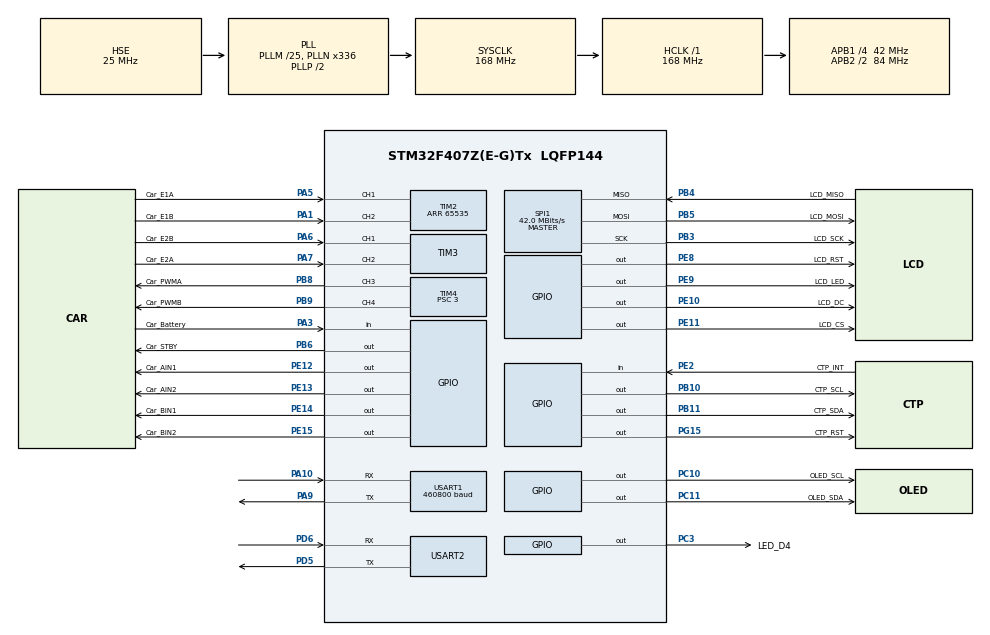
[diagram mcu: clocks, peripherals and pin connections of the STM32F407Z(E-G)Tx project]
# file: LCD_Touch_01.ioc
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Dma.Request0=USART1_TX
Dma.Request1=USART1_RX
Dma.Request2=SPI1_TX
Dma.Request3=SPI1_RX
Dma.Request4=USART2_TX
Dma.Request5=USART2_RX
Dma.SPI1_RX.3.Direction=DMA_PERIPH_TO_MEMORY
Dma.SPI1_RX.3.FIFOMode=DMA_FIFOMODE_DISABLE
Dma.SPI1_RX.3.Instance=DMA2_Stream0
Dma.SPI1_RX.3.MemDataAlignment=DMA_MDATAALIGN_BYTE
Dma.SPI1_RX.3.MemInc=DMA_MINC_ENABLE
Dma.SPI1_RX.3.Mode=DMA_NORMAL
Dma.SPI1_RX.3.PeriphDataAlignment=DMA_PDATAALIGN_BYTE
Dma.SPI1_RX.3.PeriphInc=DMA_PINC_DISABLE
Dma.SPI1_RX.3.Priority=DMA_PRIORITY_LOW
Dma.SPI1_TX.2.Direction=DMA_MEMORY_TO_PERIPH
Dma.SPI1_TX.2.FIFOMode=DMA_FIFOMODE_DISABLE
Dma.SPI1_TX.2.Instance=DMA2_Stream3
Dma.SPI1_TX.2.MemDataAlignment=DMA_MDATAALIGN_BYTE
Dma.SPI1_TX.2.MemInc=DMA_MINC_ENABLE
Dma.SPI1_TX.2.Mode=DMA_NORMAL
Dma.SPI1_TX.2.PeriphDataAlignment=DMA_PDATAALIGN_BYTE
Dma.SPI1_TX.2.PeriphInc=DMA_PINC_DISABLE
Dma.SPI1_TX.2.Priority=DMA_PRIORITY_LOW
Dma.USART1_RX.1.Direction=DMA_PERIPH_TO_MEMORY
Dma.USART1_RX.1.FIFOMode=DMA_FIFOMODE_DISABLE
Dma.USART1_RX.1.Instance=DMA2_Stream2
Dma.USART1_RX.1.MemDataAlignment=DMA_MDATAALIGN_BYTE
Dma.USART1_RX.1.MemInc=DMA_MINC_ENABLE
Dma.USART1_RX.1.Mode=DMA_NORMAL
Dma.USART1_RX.1.PeriphDataAlignment=DMA_PDATAALIGN_BYTE
Dma.USART1_RX.1.PeriphInc=DMA_PINC_DISABLE
Dma.USART1_RX.1.Priority=DMA_PRIORITY_LOW
Dma.USART1_TX.0.Direction=DMA_MEMORY_TO_PERIPH
Dma.USART1_TX.0.FIFOMode=DMA_FIFOMODE_DISABLE
Dma.USART1_TX.0.Instance=DMA2_Stream7
Dma.USART1_TX.0.MemDataAlignment=DMA_MDATAALIGN_BYTE
Dma.USART1_TX.0.MemInc=DMA_MINC_ENABLE
Dma.USART1_TX.0.Mode=DMA_NORMAL
Dma.USART1_TX.0.PeriphDataAlignment=DMA_PDATAALIGN_BYTE
Dma.USART1_TX.0.PeriphInc=DMA_PINC_DISABLE
Dma.USART1_TX.0.Priority=DMA_PRIORITY_LOW
Dma.USART2_RX.5.Direction=DMA_PERIPH_TO_MEMORY
Dma.USART2_RX.5.FIFOMode=DMA_FIFOMODE_DISABLE
Dma.USART2_RX.5.Instance=DMA1_Stream5
Dma.USART2_RX.5.MemDataAlignment=DMA_MDATAALIGN_BYTE
Dma.USART2_RX.5.MemInc=DMA_MINC_ENABLE
Dma.USART2_RX.5.Mode=DMA_NORMAL
Dma.USART2_RX.5.PeriphDataAlignment=DMA_PDATAALIGN_BYTE
Dma.USART2_RX.5.PeriphInc=DMA_PINC_DISABLE
Dma.USART2_RX.5.Priority=DMA_PRIORITY_LOW
Dma.USART2_TX.4.Direction=DMA_MEMORY_TO_PERIPH
Dma.USART2_TX.4.FIFOMode=DMA_FIFOMODE_DISABLE
Dma.USART2_TX.4.Instance=DMA1_Stream6
Dma.USART2_TX.4.MemDataAlignment=DMA_MDATAALIGN_BYTE
Dma.USART2_TX.4.MemInc=DMA_MINC_ENABLE
Dma.USART2_TX.4.Mode=DMA_NORMAL
Dma.USART2_TX.4.PeriphDataAlignment=DMA_PDATAALIGN_BYTE
Dma.USART2_TX.4.PeriphInc=DMA_PINC_DISABLE
Dma.USART2_TX.4.Priority=DMA_PRIORITY_LOW
Mcu.Family=STM32F4
Mcu.Name=STM32F407Z(E-G)Tx
Mcu.Package=LQFP144
NVIC.DMA1_Stream5_IRQn=true\:2\:0\:true\:false\:true\:true\:true\:true
NVIC.DMA1_Stream6_IRQn=true\:2\:0\:true\:false\:true\:true\:true\:true
NVIC.DMA2_Stream2_IRQn=true\:0\:0\:false\:false\:true\:false\:true\:true
NVIC.DMA2_Stream7_IRQn=true\:0\:0\:false\:false\:true\:false\:true\:true
NVIC.PriorityGroup=NVIC_PRIORITYGROUP_4
NVIC.TIM6_DAC_IRQn=true\:1\:0\:true\:false\:true\:true\:true\:true
NVIC.USART1_IRQn=true\:2\:0\:true\:false\:true\:true\:true\:true
NVIC.USART2_IRQn=true\:3\:0\:true\:false\:true\:true\:true\:true
PA1.GPIO_Label=Car_E1B
PA1.GPIO_PuPd=GPIO_PULLUP
PA1.GPIO_Speed=GPIO_SPEED_FREQ_VERY_HIGH
PA1.Signal=S_TIM2_CH2
PA10.Mode=Asynchronous
PA10.Signal=USART1_RX
PA13.Mode=Serial_Wire
PA13.Signal=SYS_JTMS-SWDIO
PA14.Mode=Serial_Wire
PA14.Signal=SYS_JTCK-SWCLK
PA3.GPIO_Label=Car_Battery
PA3.Signal=GPIO_Input
PA5.GPIO_Label=Car_E1A
PA5.GPIO_PuPd=GPIO_PULLUP
PA5.GPIO_Speed=GPIO_SPEED_FREQ_VERY_HIGH
PA5.Signal=S_TIM2_CH1_ETR
PA6.GPIO_Label=Car_E2B
PA6.GPIO_PuPd=GPIO_PULLUP
PA6.GPIO_Speed=GPIO_SPEED_FREQ_VERY_HIGH
PA6.Signal=S_TIM3_CH1
PA7.GPIO_Label=Car_E2A
PA7.GPIO_PuPd=GPIO_PULLUP
PA7.GPIO_Speed=GPIO_SPEED_FREQ_VERY_HIGH
PA7.Signal=S_TIM3_CH2
PA9.Mode=Asynchronous
PA9.Signal=USART1_TX
PB10.GPIO_Label=CTP_SCL
PB10.GPIO_PuPd=GPIO_PULLUP
PB10.GPIO_Speed=GPIO_SPEED_FREQ_VERY_HIGH
PB10.Signal=GPIO_Output
PB11.GPIO_Label=CTP_SDA
PB11.GPIO_PuPd=GPIO_PULLUP
PB11.GPIO_Speed=GPIO_SPEED_FREQ_VERY_HIGH
PB11.Signal=GPIO_Output
PB3.GPIO_Label=LCD_SCK
PB3.Mode=Full_Duplex_Master
PB3.Signal=SPI1_SCK
PB4.GPIO_Label=LCD_MISO
PB4.Mode=Full_Duplex_Master
PB4.Signal=SPI1_MISO
PB5.GPIO_Label=LCD_MOSI
PB5.Mode=Full_Duplex_Master
PB5.Signal=SPI1_MOSI
PB6.GPIO_Label=Car_STBY
PB6.PinState=GPIO_PIN_SET
PB6.Signal=GPIO_Output
PB8.GPIO_Label=Car_PWMA
PB8.GPIO_Speed=GPIO_SPEED_FREQ_VERY_HIGH
PB8.Signal=S_TIM4_CH3
PB9.GPIO_Label=Car_PWMB
PB9.GPIO_Speed=GPIO_SPEED_FREQ_VERY_HIGH
PB9.Signal=S_TIM4_CH4
PC10.GPIO_Label=OLED_SCL
PC10.GPIO_ModeDefaultOutputPP=GPIO_MODE_OUTPUT_OD
PC10.GPIO_PuPd=GPIO_NOPULL
PC10.GPIO_Speed=GPIO_SPEED_FREQ_MEDIUM
PC10.PinState=GPIO_PIN_SET
PC10.Signal=GPIO_Output
PC11.GPIO_Label=OLED_SDA
PC11.GPIO_ModeDefaultOutputPP=GPIO_MODE_OUTPUT_OD
PC11.GPIO_PuPd=GPIO_NOPULL
PC11.GPIO_Speed=GPIO_SPEED_FREQ_MEDIUM
PC11.PinState=GPIO_PIN_SET
PC11.Signal=GPIO_Output
PC3.GPIO_Label=LED_D4
PC3.Signal=GPIO_Output
PD5.Mode=Asynchronous
PD5.Signal=USART2_TX
PD6.Mode=Asynchronous
PD6.Signal=USART2_RX
PE10.GPIO_Label=LCD_DC
PE10.GPIO_PuPd=GPIO_PULLUP
PE10.GPIO_Speed=GPIO_SPEED_FREQ_VERY_HIGH
PE10.Signal=GPIO_Output
PE11.GPIO_Label=LCD_CS
PE11.GPIO_PuPd=GPIO_PULLUP
PE11.GPIO_Speed=GPIO_SPEED_FREQ_VERY_HIGH
PE11.PinState=GPIO_PIN_SET
PE11.Signal=GPIO_Output
PE12.GPIO_Label=Car_AIN1
PE12.GPIO_Speed=GPIO_SPEED_FREQ_HIGH
PE12.PinState=GPIO_PIN_SET
PE12.Signal=GPIO_Output
PE13.GPIO_Label=Car_AIN2
PE13.GPIO_Speed=GPIO_SPEED_FREQ_HIGH
PE13.Signal=GPIO_Output
PE14.GPIO_Label=Car_BIN1
PE14.GPIO_Speed=GPIO_SPEED_FREQ_HIGH
PE14.PinState=GPIO_PIN_SET
PE14.Signal=GPIO_Output
PE15.GPIO_Label=Car_BIN2
PE15.GPIO_Speed=GPIO_SPEED_FREQ_HIGH
PE15.PinState=GPIO_PIN_RESET
PE15.Signal=GPIO_Output
PE2.GPIO_Label=CTP_INT
PE2.GPIO_PuPd=GPIO_PULLUP
PE2.Signal=GPIO_Input
PE8.GPIO_Label=LCD_RST
PE8.GPIO_PuPd=GPIO_PULLUP
PE8.GPIO_Speed=GPIO_SPEED_FREQ_VERY_HIGH
PE8.Signal=GPIO_Output
PE9.GPIO_Label=LCD_LED
PE9.GPIO_PuPd=GPIO_PULLUP
PE9.GPIO_Speed=GPIO_SPEED_FREQ_VERY_HIGH
PE9.PinState=GPIO_PIN_SET
PE9.Signal=GPIO_Output
PG15.GPIO_Label=CTP_RST
PG15.GPIO_PuPd=GPIO_PULLUP
PG15.GPIO_Speed=GPIO_SPEED_FREQ_VERY_HIGH
PG15.Signal=GPIO_Output
PH0-OSC_IN.Mode=HSE-External-Oscillator
PH0-OSC_IN.Signal=RCC_OSC_IN
PH1-OSC_OUT.Mode=HSE-External-Oscillator
PH1-OSC_OUT.Signal=RCC_OSC_OUT
ProjectManager.HeapSize=0x200
ProjectManager.StackSize=0x400
ProjectManager.TargetToolchain=MDK-ARM V5.32
RCC.48MHZClocksFreq_Value=84000000
RCC.AHBFreq_Value=168000000
RCC.APB1CLKDivider=RCC_HCLK_DIV4
RCC.APB1Freq_Value=42000000
RCC.APB1TimFreq_Value=84000000
RCC.APB2CLKDivider=RCC_HCLK_DIV2
RCC.APB2Freq_Value=84000000
RCC.APB2TimFreq_Value=168000000
RCC.CortexFreq_Value=168000000
RCC.HCLKFreq_Value=168000000
RCC.HSE_VALUE=25000000
RCC.HSI_VALUE=16000000
RCC.LSE_VALUE=32768
RCC.PLLM=25
RCC.PLLN=336
RCC.PLLSourceVirtual=RCC_PLLSOURCE_HSE
RCC.SYSCLKFreq_VALUE=168000000
RCC.SYSCLKSource=RCC_SYSCLKSOURCE_PLLCLK
RCC.VCOOutputFreq_Value=336000000
SH.S_TIM2_CH1_ETR.0=TIM2_CH1,Encoder_Interface
SH.S_TIM2_CH2.0=TIM2_CH2,Encoder_Interface
SH.S_TIM3_CH1.0=TIM3_CH1,Encoder_Interface
SH.S_TIM3_CH2.0=TIM3_CH2,Encoder_Interface
SH.S_TIM4_CH3.0=TIM4_CH3,PWM Generation3 CH3
SH.S_TIM4_CH4.0=TIM4_CH4,PWM Generation4 CH4
SPI1.BaudRatePrescaler=SPI_BAUDRATEPRESCALER_2
SPI1.CRCCalculation=SPI_CRCCALCULATION_DISABLE
SPI1.CalculateBaudRate=42.0 MBits/s
SPI1.Direction=SPI_DIRECTION_2LINES
SPI1.Mode=SPI_MODE_MASTER
SPI1.VirtualType=VM_MASTER
TIM2.AutoReloadPreload=TIM_AUTORELOAD_PRELOAD_ENABLE
TIM2.EncoderMode=TIM_ENCODERMODE_TI12
TIM2.IC1Filter=6
TIM2.IC2Filter=6
TIM2.Period=65535
TIM3.AutoReloadPreload=TIM_AUTORELOAD_PRELOAD_ENABLE
TIM3.EncoderMode=TIM_ENCODERMODE_TI12
TIM3.IC1Filter=6
TIM3.IC2Filter=6
TIM4.AutoReloadPreload=TIM_AUTORELOAD_PRELOAD_ENABLE
TIM4.Channel-PWM\ Generation3\ CH3=TIM_CHANNEL_3
TIM4.Channel-PWM\ Generation4\ CH4=TIM_CHANNEL_4
TIM4.Period=999
TIM4.Prescaler=3
TIM4.Pulse-PWM\ Generation3\ CH3=0
TIM4.Pulse-PWM\ Generation4\ CH4=0
TIM6.AutoReloadPreload=TIM_AUTORELOAD_PRELOAD_ENABLE
TIM6.Period=10000-1
TIM6.Prescaler=84-1
USART1.BaudRate=460800
USART1.VirtualMode=VM_ASYNC
USART2.VirtualMode=VM_ASYNC
VP_TIM4_VS_ClockSourceINT.Mode=Internal
VP_TIM6_VS_ClockSourceINT.Mode=Enable_Timer
board=custom

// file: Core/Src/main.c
/* USER CODE BEGIN Header */
/**
  ******************************************************************************
  * @file           : main.c
  * @brief          : Main program body
  ******************************************************************************
  * @attention
  *
  * Copyright (c) 2024 STMicroelectronics.
  * All rights reserved.
  *
  * This software is licensed under terms that can be found in the LICENSE file
  * in the root directory of this software component.
  * If no LICENSE file comes with this software, it is provided AS-IS.
  *
  ******************************************************************************
  */
/* USER CODE END Header */
#include "main.h"
#include "dma.h"
#include "spi.h"
#include "tim.h"
#include "usart.h"
#include "gpio.h"

/* USER CODE BEGIN Includes */
#include "delay.h"
#include "lcd.h"
#include "gui.h"
#include "test.h"
#include "touch.h"
#include "OLED.h"
#include "car.h"
#include "niming.h"

//#define FLASH_SAVE_ADDR 	0x08007000
/* USER CODE END Includes */

void SystemClock_Config(void);
/* USER CODE BEGIN PFP */
void test_Init_Start(void);
void test_while(void);
void test_LCD(void);
void test_Touch(void);
void test_OLED(void);
/* USER CODE END PFP */

int main(void)
{

  /* MCU Configuration--------------------------------------------------------*/

  /* Reset of all peripherals, Initializes the Flash interface and the Systick. */
  HAL_Init();

  /* Configure the system clock */
  SystemClock_Config();

  /* Initialize all configured peripherals */
  MX_GPIO_Init();
  MX_DMA_Init();
  MX_SPI1_Init();
  MX_TIM2_Init();
  MX_TIM3_Init();
  MX_TIM4_Init();
  MX_TIM6_Init();
  MX_USART1_UART_Init();
  MX_USART2_UART_Init();
  /* USER CODE BEGIN 2 */
    test_Init_Start();
  /* USER CODE END 2 */

  /* Infinite loop */
  while (1)
  {

    /* USER CODE BEGIN 3 */
	test_while();
  }
  /* USER CODE END 3 */
}

void SystemClock_Config(void)
{
  RCC_OscInitTypeDef RCC_OscInitStruct = {0};
  RCC_ClkInitTypeDef RCC_ClkInitStruct = {0};

  /** Configure the main internal regulator output voltage
  */
  __HAL_RCC_PWR_CLK_ENABLE();
  __HAL_PWR_VOLTAGESCALING_CONFIG(PWR_REGULATOR_VOLTAGE_SCALE1);

  /** Initializes the RCC Oscillators according to the specified parameters
  * in the RCC_OscInitTypeDef structure.
  */
  RCC_OscInitStruct.OscillatorType = RCC_OSCILLATORTYPE_HSE;
  RCC_OscInitStruct.HSEState = RCC_HSE_ON;
  RCC_OscInitStruct.PLL.PLLState = RCC_PLL_ON;
  RCC_OscInitStruct.PLL.PLLSource = RCC_PLLSOURCE_HSE;
  RCC_OscInitStruct.PLL.PLLM = 25;
  RCC_OscInitStruct.PLL.PLLN = 336;
  RCC_OscInitStruct.PLL.PLLP = RCC_PLLP_DIV2;
  RCC_OscInitStruct.PLL.PLLQ = 4;
  if (HAL_RCC_OscConfig(&RCC_OscInitStruct) != HAL_OK)
  {
    Error_Handler();
  }

  /** Initializes the CPU, AHB and APB buses clocks
  */
  RCC_ClkInitStruct.ClockType = RCC_CLOCKTYPE_HCLK|RCC_CLOCKTYPE_SYSCLK
                              |RCC_CLOCKTYPE_PCLK1|RCC_CLOCKTYPE_PCLK2;
  RCC_ClkInitStruct.SYSCLKSource = RCC_SYSCLKSOURCE_PLLCLK;
  RCC_ClkInitStruct.AHBCLKDivider = RCC_SYSCLK_DIV1;
  RCC_ClkInitStruct.APB1CLKDivider = RCC_HCLK_DIV4;
  RCC_ClkInitStruct.APB2CLKDivider = RCC_HCLK_DIV2;

  if (HAL_RCC_ClockConfig(&RCC_ClkInitStruct, FLASH_LATENCY_5) != HAL_OK)
  {
    Error_Handler();
  }
}

/* USER CODE BEGIN 4 */
/***********************/
void test_Init_Start(void)
{
	OLED_Init();
	LCD_Init();	   //液晶屏初始化
	pid_Init(&car);
	HAL_TIM_Base_Start_IT(&htim6);  //启动定时器1，并使能中断
//	static FLASH_EraseInitTypeDef EraseInitStruct={
//		.TypeErase=FLASH_TYPEERASE_SECTORS,
//		.PageAddress=FLASH_SAVE_ADDR,
//		.NbSectors=1
//
//	}
}

void test_while(void)
{
//	  delay_ms(200);
	  test_LCD();
//	  test_Touch();
	  test_OLED();
	  PID(&car);
	Set_Motor(car.A.PWM,car.B.PWM);
	ANO_DT_Send_F2(car.A.rospeed,3.0*100,car.B.rospeed,3.0*100);
}

/********************/
void test_LCD(void)
{
//	static int16_t AA=70;
//	main_test(); 		//测试主界面
	if(car.A.rospeed&(1<<16))	//如果是负数的话
	{
		LCD_ShowNum(5,15,4294967296-car.A.rospeed,5,15);
	}
	else
	{
		LCD_ShowNum(5,15,car.A.rospeed,5,15);
	}
	if(car.B.rospeed&(1<<16))	//如果是负数的话
	{
		LCD_ShowNum(5,30,4294967296-car.B.rospeed,5,15);
	}
	else
	{
		LCD_ShowNum(5,30,car.B.rospeed,5,15);
	}
}

void test_Touch(void)
{
//	static uint8_t A=0,B=0;
	Touch_Test();
//	HAL_UART_Transmit(&huart1, &A, 8,500);
//	HAL_UART_Transmit(&huart1, &B, 8,500);
//	static uint8_t A=0x0A;
//	HAL_UART_Transmit(&huart1,&A,1,500);
//	A++;
//	delay_ms(500);
//	A++;
//	B++;
}

void test_OLED(void)
{
	//显示转速和速度
	OLED_ShowSignedNum(8*0,16*0,car.A.rospeed,3,OLED_8X16);
	OLED_ShowSignedNum(8*0,16*1,car.B.rospeed,3,OLED_8X16);
	OLED_ShowString(8*4,16*0,"r/min",OLED_8X16);
	OLED_ShowString(8*4,16*1,"r/min",OLED_8X16);
	OLED_ShowFloatNum(8*0,16*2,car.A.velocity,2,2,OLED_8X16);
	OLED_ShowFloatNum(8*0,16*3,car.B.velocity,2,2,OLED_8X16);
	OLED_ShowString(8*6,16*2,"m/s",OLED_8X16);
	OLED_ShowString(8*6,16*3,"m/s",OLED_8X16);

	//显示PID参数
	OLED_ShowString(8*9,16*0,"P:",OLED_8X16);
	OLED_ShowFloatNum(8*11,16*0,car.A.PID.Kp,1,2,OLED_8X16);
	OLED_ShowString(8*9,16*1,"I:",OLED_8X16);
	OLED_ShowFloatNum(8*11,16*1,car.A.PID.Ki,1,2,OLED_8X16);
	OLED_ShowString(8*9,16*2,"D:",OLED_8X16);
	OLED_ShowFloatNum(8*11,16*2,car.A.PID.Kd,1,2,OLED_8X16);
	OLED_Update();
}
/* USER CODE END 4 */

void Error_Handler(void)
{
  __disable_irq();
  while (1)
  {
  }
}
